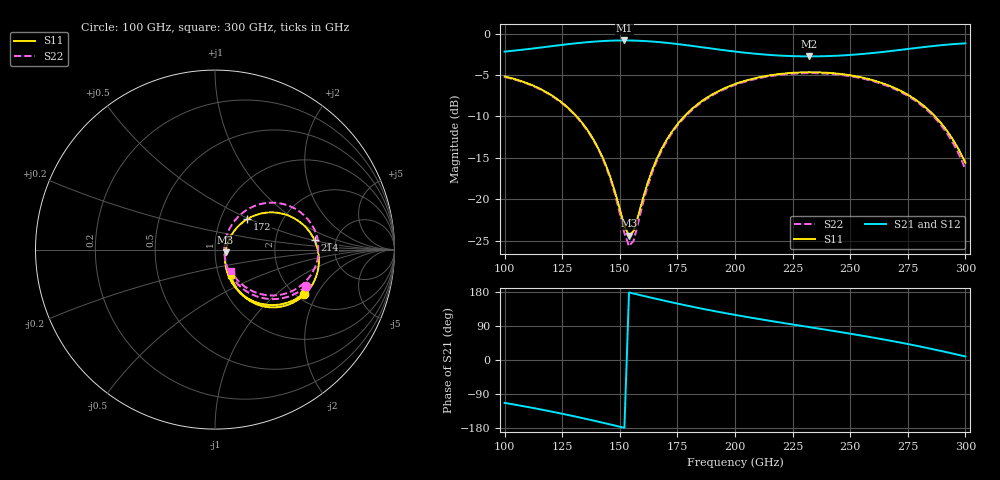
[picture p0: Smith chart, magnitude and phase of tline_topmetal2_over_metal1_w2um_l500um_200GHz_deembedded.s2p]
! Created with skrf 2.0.1 (http://scikit-rf.org).
# GHz S DB R 50.0
!freq dBS11 angS11 dBS21 angS21 dBS12 angS12 dBS22 angS22
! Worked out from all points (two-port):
!   101 points, 100 GHz to 300 GHz, reference 50 ohm
!   highest |S21| = -0.82 dB at 152 GHz (marker M1); lowest = -2.7 dB at 232 GHz (marker M2)
!   |S21| within 3 dB of the highest: start of sweep to end of sweep
!   lowest |S11| = -24.4 dB at 154 GHz (marker M3), VSWR 1.13, Z = 56.2 - j1.61 ohm
!   |S11| at or under -10 dB: 131.3 GHz to 178 GHz (46.68 GHz wide, 30.2 % of centre); 286.9 GHz to end of sweep
!   |S22| runs from -25.7 to -4.8 dB; largest |S21 - S12| = 1.5e-14
!   S11 on the Smith chart (normalised r, x): 100 GHz: 2.20, -1.55; 172 GHz: 1.34, +0.49; 214 GHz: 3.43, +0.52; 300 GHz: 1.14, -0.33
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100  -5.17 -26.4  -2.16 -113.2  -2.16 -113.2  -5.23 -21.6
118  -7.04 -44.1  -1.59 -133.2  -1.59 -133.2  -7.11 -38.6
134  -10.89 -59.2  -1.08 -153.6  -1.08 -153.6  -10.98 -53.6
144  -15.91 -62.7  -0.87 -167.5  -0.87 -167.5  -16.07 -57.8
148  -19.18 -57.1  -0.83 -173.2  -0.83 -173.2  -19.49 -53.2
152  -23.20 -35.6  -0.82 -178.9  -0.82 -178.9  -24.06 -32.1
154  -24.41 -13.7  -0.82 178.2  -0.82 178.2  -25.66 -7.7
156  -23.82 10.2  -0.84 175.3  -0.84 175.3  -24.99 20.1
162  -18.10 41.8  -0.91 166.7  -0.91 166.7  -18.49 53.1
168  -13.99 45.0  -1.04 158.4  -1.04 158.4  -14.21 55.7
172  -12.09 43.3  -1.16 152.9  -1.16 152.9  -12.26 53.8
184  -8.48 33.4  -1.58 137.5  -1.58 137.5  -8.60 43.8
200  -6.08 18.2  -2.16 119.1  -2.16 119.1  -6.19 28.8
214  -5.08 5.3  -2.54 104.6  -2.54 104.6  -5.19 16.4
232  -4.66 -10.3  -2.74 87.0  -2.74 87.0  -4.76 1.0
234  -4.66 -12.1  -2.74 85.1  -2.74 85.1  -4.77 -0.6
250  -5.03 -25.9  -2.57 69.4  -2.57 69.4  -5.13 -14.3
268  -6.40 -42.0  -2.09 50.3  -2.09 50.3  -6.53 -30.7
278  -7.90 -50.9  -1.75 38.5  -1.75 38.5  -8.05 -40.1
288  -10.33 -58.5  -1.43 25.8  -1.43 25.8  -10.57 -49.1
294  -12.53 -60.8  -1.28 17.7  -1.28 17.7  -12.90 -53.1
300  -15.60 -58.1  -1.17 9.3  -1.17 9.3  -16.37 -53.4
